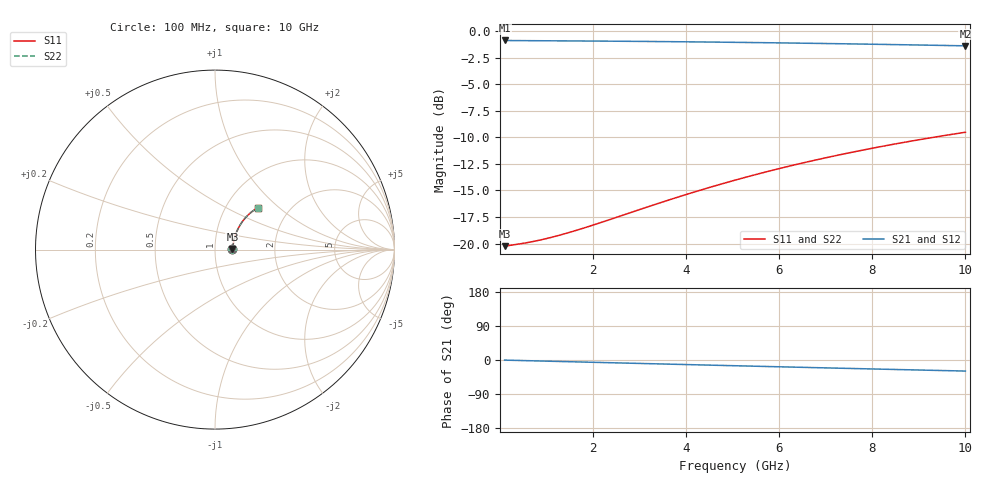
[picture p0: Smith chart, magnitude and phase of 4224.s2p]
# Hz S RI R 50.00
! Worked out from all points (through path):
!   100 points, 100 MHz to 10 GHz, reference 50 ohm
!   highest |S21| = -0.89 dB at 100 MHz (marker M1); lowest = -1.4 dB at 10 GHz (marker M2)
!   group delay of S21, straight-line fit = 8.12 ps
!   lowest |S11| = -20.2 dB at 100 MHz (marker M3), VSWR 1.22, Z = 60.8 + j0.365 ohm
!   |S11| at or under -10 dB: start of sweep to 9.318 GHz
!   |S22| runs from -20.2 to -9.5 dB; largest |S21 - S12| = 0
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1e8  0.0972 0.00298  0.9028 -0.00479  0.9028 -0.00479  0.0972 0.00298
5e8  0.0992 0.0148  0.9008 -0.0238  0.9008 -0.0238  0.0992 0.0148
7e8  0.1 0.0207  0.8999 -0.0333  0.8999 -0.0333  0.1 0.0207
9e8  0.1009 0.0266  0.8989 -0.0428  0.8989 -0.0428  0.1009 0.0266
1.1e9  0.1019 0.0324  0.8979 -0.0523  0.8979 -0.0523  0.1019 0.0324
1.3e9  0.1029 0.0382  0.8968 -0.0617  0.8968 -0.0617  0.1029 0.0382
1.5e9  0.1041 0.044  0.8955 -0.0711  0.8955 -0.0711  0.1041 0.044
1.8e9  0.1059 0.0526  0.8935 -0.0852  0.8935 -0.0852  0.1059 0.0526
2.6e9  0.1121 0.0753  0.8867 -0.1223  0.8867 -0.1223  0.1121 0.0753
3.4e9  0.12 0.0972  0.8779 -0.1587  0.8779 -0.1587  0.12 0.0972
3.9e9  0.1258 0.1104  0.8715 -0.181  0.8715 -0.181  0.1258 0.1104
4.3e9  0.1309 0.1208  0.8658 -0.1986  0.8658 -0.1986  0.1309 0.1208
4.7e9  0.1364 0.1309  0.8597 -0.216  0.8597 -0.216  0.1364 0.1309
5.1e9  0.1423 0.1407  0.8532 -0.2331  0.8532 -0.2331  0.1423 0.1407
5.5e9  0.1486 0.1502  0.8462 -0.2498  0.8462 -0.2498  0.1486 0.1502
5.9e9  0.1552 0.1594  0.8388 -0.2663  0.8388 -0.2663  0.1552 0.1594
6.7e9  0.1694 0.1769  0.8228 -0.2983  0.8228 -0.2983  0.1694 0.1769
7.5e9  0.1847 0.1929  0.8055 -0.329  0.8055 -0.329  0.1847 0.1929
7.9e9  0.1928 0.2004  0.7963 -0.3438  0.7963 -0.3438  0.1928 0.2004
8.4e9  0.2033 0.2092  0.7844 -0.3617  0.7844 -0.3617  0.2033 0.2092
9.2e9  0.2207 0.2221  0.7645 -0.3893  0.7645 -0.3893  0.2207 0.2221
1e10  0.2388 0.2334  0.7437 -0.4153  0.7437 -0.4153  0.2388 0.2334
